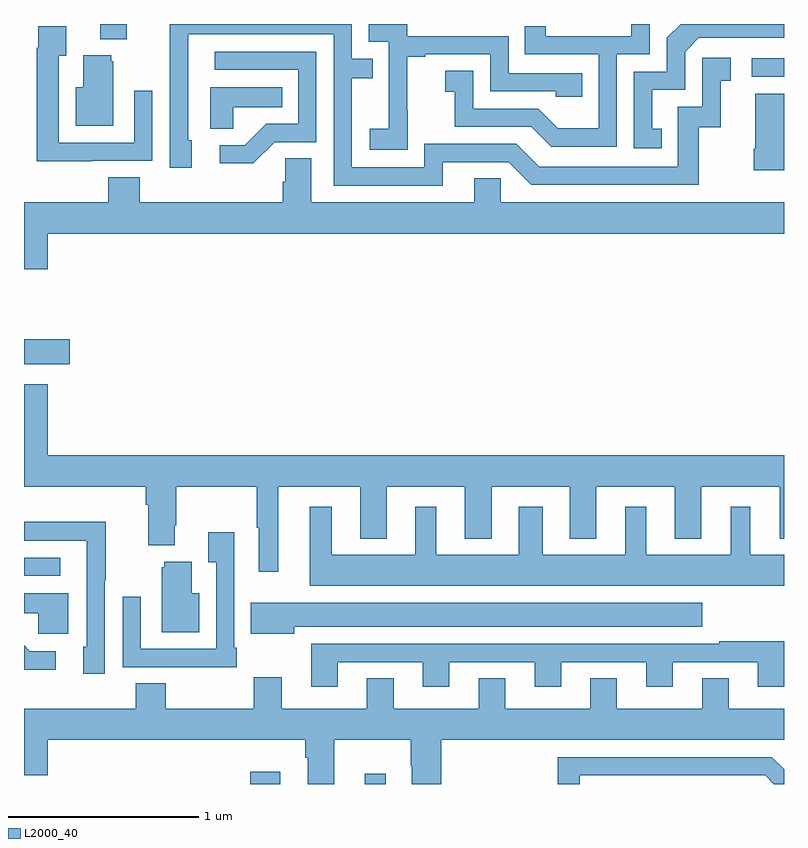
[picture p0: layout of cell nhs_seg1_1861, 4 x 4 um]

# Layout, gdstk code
import gdstk
lib = gdstk.Library(unit=1e-6, precision=1e-09)
def R(c, l, rs):  # rectangles x0, y0, x1, y1
    for r in rs: c.add(gdstk.rectangle(r[:2], r[2:], *l))
def P(c, l, *ps):  # polygons
    for p in ps: c.add(gdstk.Polygon(p, *l))
L2000_40 = (2000, 40)

nhs_seg1_1861 = lib.new_cell('nhs_seg1_1861')
R(nhs_seg1_1861, L2000_40, [(214.19,518.199,214.348,518.263), (214.793,518.199,214.903,518.254), (213,519.294,213.19,519.39), (213,520.409,213.241,520.539), (216.831,521.922,217,522.018), (213.401,522.119,213.541,522.199)])
P(nhs_seg1_1861, L2000_40, [(216.12,522.039),(216.294,522.039),(216.294,522.199),(216.197,522.199),(216.197,522.135),(215.746,522.135),(215.746,522.187),(215.635,522.187),(215.635,522.039),(216.024,522.039),(216.024,521.65),(215.81,521.65),(215.706,521.754),(215.364,521.754),(215.364,521.953),(215.217,521.953),(215.217,521.843),(215.266,521.843),(215.266,521.658),(215.669,521.658),(215.774,521.553),(216.12,521.553)],
  [(216.356,521.649),(216.307,521.649),(216.307,521.853),(216.48,521.853),(216.48,522.054),(216.552,522.126),(217,522.126),(217,522.199),(216.457,522.199),(216.384,522.126),(216.384,521.949),(216.21,521.949),(216.21,521.544),(216.356,521.544)],
  [(215.203,521.472),(215.55,521.472),(215.67,521.352),(216.55,521.352),(216.55,521.655),(216.668,521.655),(216.668,521.901),(216.721,521.901),(216.721,522.022),(216.57,522.022),(216.57,521.763),(216.441,521.763),(216.441,521.448),(215.712,521.448),(215.592,521.568),(215.106,521.568),(215.106,521.445),(214.725,521.445),(214.725,521.914),(214.835,521.914),(214.835,522.015),(214.725,522.015),(214.725,522.199),(213.766,522.199),(213.766,521.935),(213.768,521.935),(213.768,521.442),(213.883,521.442),(213.883,521.586),(213.864,521.586),(213.864,522.144),(214.629,522.144),(214.629,521.349),(215.203,521.349)],
  [(215.019,521.743),(215.018,521.743),(215.018,522.027),(215.113,522.027),(215.113,522.039),(215.454,522.039),(215.454,521.844),(215.799,521.844),(215.799,521.817),(215.939,521.817),(215.939,521.94),(215.55,521.94),(215.55,522.135),(215.016,522.135),(215.016,522.199),(214.815,522.199),(214.815,522.105),(214.92,522.105),(214.92,521.876),(214.919,521.876),(214.919,521.647),(214.821,521.647),(214.821,521.537),(215.019,521.537)],
  [(213.359,521.478),(213.675,521.478),(213.675,521.847),(213.579,521.847),(213.579,521.574),(213.183,521.574),(213.183,522.031),(213.223,522.031),(213.223,522.187),(213.075,522.187),(213.075,522.074),(213.067,522.074),(213.067,521.477),(213.359,521.477)],
  [(214.32,521.577),(214.539,521.577),(214.539,522.054),(214.005,522.054),(214.005,521.958),(214.443,521.958),(214.443,521.673),(214.274,521.673),(214.163,521.562),(214.029,521.562),(214.029,521.465),(214.207,521.465)],
  [(213.469,522.003),(213.458,522.003),(213.458,522.034),(213.311,522.034),(213.311,521.866),(213.272,521.866),(213.272,521.663),(213.469,521.663)],
  [(214.101,521.762),(214.358,521.762),(214.358,521.866),(213.98,521.866),(213.98,521.647),(214.101,521.647)],
  [(217,521.833),(216.848,521.833),(216.848,521.542),(216.841,521.542),(216.841,521.43),(217,521.43)],
  [(213.124,521.096),(217,521.096),(217,521.26),(215.508,521.26),(215.508,521.387),(215.369,521.387),(215.369,521.26),(214.513,521.26),(214.513,521.492),(214.374,521.492),(214.374,521.369),(214.361,521.369),(214.361,521.26),(213.608,521.26),(213.608,521.393),(213.443,521.393),(213.443,521.26),(213,521.26),(213,520.908),(213.124,520.908)],
  [(214.339,519.764),(214.769,519.764),(214.769,519.491),(214.909,519.491),(214.909,519.764),(215.321,519.764),(215.321,519.491),(215.461,519.491),(215.461,519.764),(215.873,519.764),(215.873,519.491),(216.013,519.491),(216.013,519.764),(216.425,519.764),(216.425,519.491),(216.565,519.491),(216.565,519.764),(216.977,519.764),(216.977,519.491),(217,519.491),(217,519.928),(213.124,519.928),(213.124,520.303),(213,520.303),(213,519.764),(213.641,519.764),(213.641,519.668),(213.653,519.668),(213.653,519.455),(213.793,519.455),(213.793,519.562),(213.801,519.562),(213.801,519.764),(214.225,519.764),(214.225,519.548),(214.235,519.548),(214.235,519.315),(214.339,519.315)],
  [(217,519.406),(216.823,519.406),(216.823,519.658),(216.719,519.658),(216.719,519.406),(216.274,519.406),(216.274,519.658),(216.164,519.658),(216.164,519.406),(215.731,519.406),(215.731,519.658),(215.603,519.658),(215.603,519.406),(215.17,519.406),(215.17,519.658),(215.06,519.658),(215.06,519.406),(214.621,519.406),(214.621,519.658),(214.505,519.658),(214.505,519.242),(217,519.242)],
  [(213.426,519.271),(213.429,519.271),(213.429,519.578),(213,519.578),(213,519.48),(213.329,519.48),(213.329,519.226),(213.33,519.226),(213.33,518.922),(213.311,518.922),(213.311,518.778),(213.426,518.778)],
  [(214.12,518.917),(214.107,518.917),(214.107,519.523),(213.971,519.523),(213.971,519.367),(214.011,519.367),(214.011,518.91),(213.615,518.91),(213.615,519.184),(213.519,519.184),(213.519,518.814),(213.835,518.814),(213.835,518.813),(214.12,518.813)],
  [(213.922,519.202),(213.883,519.202),(213.883,519.37),(213.737,519.37),(213.737,519.339),(213.725,519.339),(213.725,518.999),(213.922,518.999)],
  [(213.232,519.202),(213,519.202),(213,519.098),(213.075,519.098),(213.075,518.99),(213.232,518.99)],
  [(214.423,519.026),(216.571,519.026),(216.571,519.154),(214.194,519.154),(214.194,518.99),(214.423,518.99)],
  [(214.651,518.841),(215.099,518.841),(215.099,518.712),(215.239,518.712),(215.239,518.841),(215.687,518.841),(215.687,518.712),(215.827,518.712),(215.827,518.841),(216.275,518.841),(216.275,518.712),(216.415,518.712),(216.415,518.841),(216.863,518.841),(216.863,518.712),(217,518.712),(217,518.95),(216.658,518.95),(216.658,518.937),(214.511,518.937),(214.511,518.712),(214.651,518.712)],
  [(213.166,518.898),(213.031,518.898),(213,518.929),(213,518.801),(213.166,518.801)],
  [(214.633,518.432),(215.035,518.432),(215.035,518.294),(215.042,518.294),(215.042,518.199),(215.195,518.199),(215.195,518.432),(217,518.432),(217,518.596),(216.709,518.596),(216.709,518.756),(216.569,518.756),(216.569,518.596),(216.121,518.596),(216.121,518.756),(215.981,518.756),(215.981,518.596),(215.533,518.596),(215.533,518.756),(215.393,518.756),(215.393,518.596),(214.945,518.596),(214.945,518.756),(214.805,518.756),(214.805,518.596),(214.357,518.596),(214.357,518.761),(214.21,518.761),(214.21,518.596),(213.747,518.596),(213.747,518.729),(213.587,518.729),(213.587,518.596),(213,518.596),(213,518.244),(213.124,518.244),(213.124,518.432),(214.481,518.432),(214.481,518.336),(214.493,518.336),(214.493,518.199),(214.633,518.199)],
  [(215.925,518.244),(216.9,518.244),(216.945,518.199),(217,518.199),(217,518.276),(216.936,518.34),(215.809,518.34),(215.809,518.199),(215.925,518.199)])

lib.write_gds('nhs_seg1_1861.gds')
